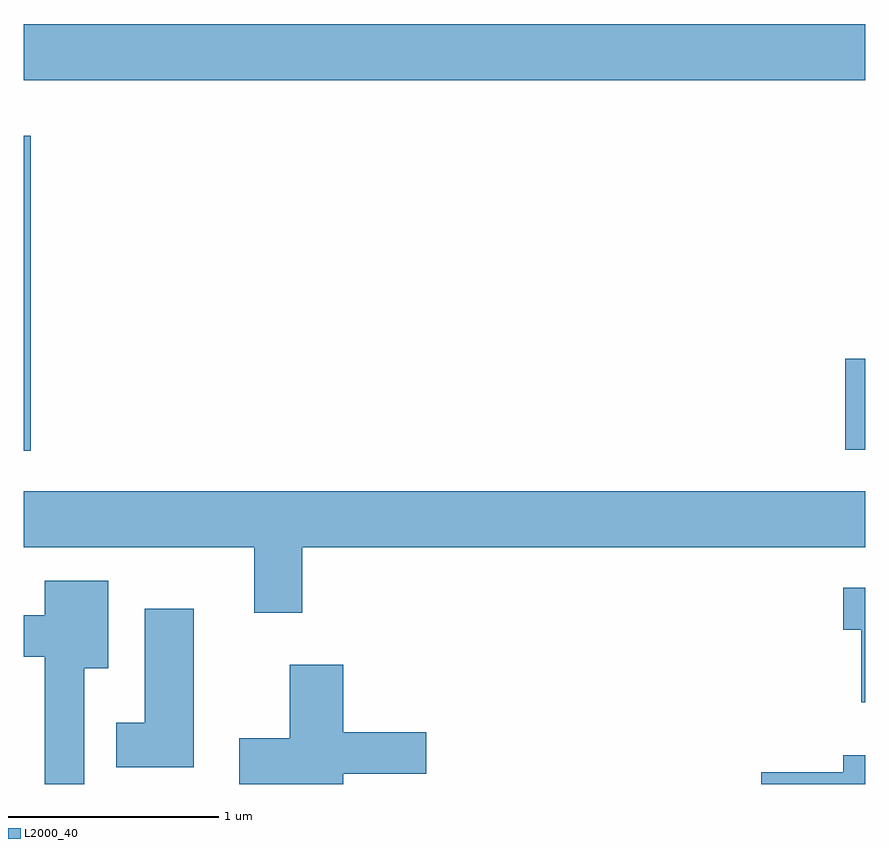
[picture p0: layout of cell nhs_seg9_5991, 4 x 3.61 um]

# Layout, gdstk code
import gdstk
lib = gdstk.Library(unit=1e-6, precision=1e-09)
def R(c, l, rs):  # rectangles x0, y0, x1, y1
    for r in rs: c.add(gdstk.rectangle(r[:2], r[2:], *l))
def P(c, l, *ps):  # polygons
    for p in ps: c.add(gdstk.Polygon(p, *l))
L2000_40 = (2000, 40)

nhs_seg9_5991 = lib.new_cell('nhs_seg9_5991')
R(nhs_seg9_5991, L2000_40, [(361.611,2030.016,361.644,2031.514), (365.516,2030.021,365.611,2030.454), (361.611,2031.776,365.611,2032.044)])
P(nhs_seg9_5991, L2000_40, [(362.934,2029.556),(365.611,2029.556),(365.611,2029.824),(361.611,2029.824),(361.611,2029.556),(362.706,2029.556),(362.706,2029.246),(362.934,2029.246)],
  [(361.899,2028.981),(362.014,2028.981),(362.014,2029.399),(361.711,2029.399),(361.711,2029.234),(361.611,2029.234),(361.611,2029.036),(361.711,2029.036),(361.711,2028.432),(361.899,2028.432)],
  [(365.611,2029.364),(365.506,2029.364),(365.506,2029.166),(365.591,2029.166),(365.591,2028.821),(365.611,2028.821)],
  [(362.419,2029.264),(362.186,2029.264),(362.186,2028.724),(362.051,2028.724),(362.051,2028.511),(362.419,2028.511)],
  [(363.129,2028.481),(363.524,2028.481),(363.524,2028.679),(363.129,2028.679),(363.129,2028.999),(362.876,2028.999),(362.876,2028.649),(362.636,2028.649),(362.636,2028.432),(363.129,2028.432)],
  [(365.611,2028.569),(365.506,2028.569),(365.506,2028.489),(365.116,2028.489),(365.116,2028.432),(365.611,2028.432)])

lib.write_gds('nhs_seg9_5991.gds')
